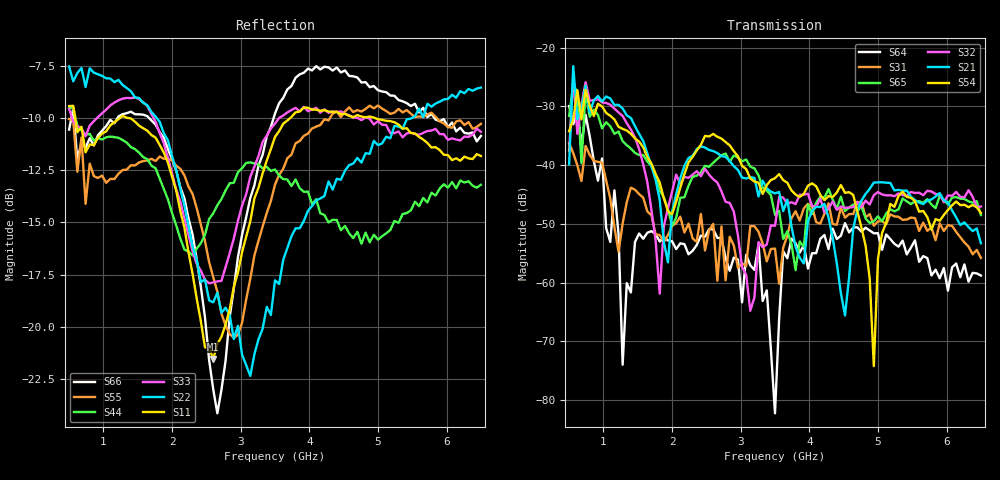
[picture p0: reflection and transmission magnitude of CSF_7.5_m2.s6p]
!Keysight Technologies,M9804A,MY58100912,A.14.10.03
!Date: Thursday, April 27, 2023 10:28:33
!Correction: S11(C  6-Port  )
!S12(C  6-Port  )
!S13(C  6-Port  )
!S14(C  6-Port  )
!S15(C  6-Port  )
!S16(C  6-Port  )
!S21(C  6-Port  )
!S22(C  6-Port  )
!S23(C  6-Port  )
!S24(C  6-Port  )
!S25(C  6-Port  )
!S26(C  6-Port  )
!S31(C  6-Port  )
!S32(C  6-Port  )
!S33(C  6-Port  )
!S34(C  6-Port  )
!S35(C  6-Port  )
!S36(C  6-Port  )
!S41(C  6-Port  )
!S42(C  6-Port  )
!S43(C  6-Port  )
!S44(C  6-Port  )
!S45(C  6-Port  )
!S46(C  6-Port  )
!S51(C  6-Port  )
!S52(C  6-Port  )
!S53(C  6-Port  )
!S54(C  6-Port  )
!S55(C  6-Port  )
!S56(C  6-Port  )
!S61(C  6-Port  )
!S62(C  6-Port  )
!S63(C  6-Port  )
!S64(C  6-Port  )
!S65(C  6-Port  )
!S66(C  6-Port  )
!S6P File: Measurement: :
# Hz S  RI  R 50
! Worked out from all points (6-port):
!   101 points, 500 MHz to 6.5 GHz, reference 50 ohm
!   strongest paths, dB at 500 MHz, 2 GHz, 3.5 GHz, 5 GHz, 6.5 GHz:
!     S54: -34.2, -48.4, -42.2, -56.0, -48.1
!     S21: -39.8, -48.0, -44.8, -42.9, -53.3
!     S32: -37.6, -44.5, -50.3, -44.6, -47.0
!     S65: -31.6, -50.4, -48.4, -48.7, -48.5
!     S31: -36.2, -50.3, -54.2, -49.6, -55.8
!     S64: -29.9, -52.9, -82.2, -51.6, -58.8
!   lowest |S11| = -21.6 dB at 2.6 GHz (marker M1), VSWR 1.18, Z = 42.5 + j2.04 ohm
!   |S11| at or under -10 dB: 588.2 MHz to 1.236 GHz (647.5 MHz wide, 71 % of centre); 1.387 GHz to 3.717 GHz (2.33 GHz wide, 91.3 % of centre); 4.966 GHz to end of sweep
